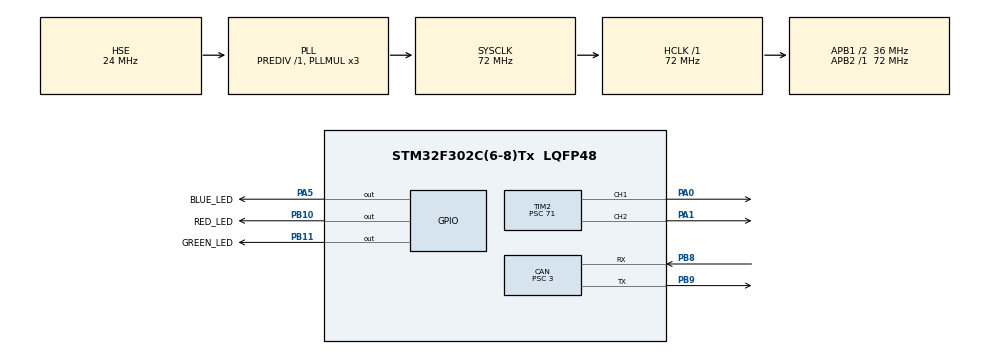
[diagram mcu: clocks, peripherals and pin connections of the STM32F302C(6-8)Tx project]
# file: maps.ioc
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CAN.BS1=CAN_BS1_7TQ
CAN.BS2=CAN_BS2_4TQ
CAN.CalculateBaudRate=999999
CAN.CalculateTimeBit=1000
CAN.CalculateTimeQuantum=83.33333333333334
CAN.NART=ENABLE
CAN.Prescaler=3
Mcu.Family=STM32F3
Mcu.Name=STM32F302C(6-8)Tx
Mcu.Package=LQFP48
NVIC.CAN_RX1_IRQn=true\:0\:0\:false\:false\:true\:true\:true\:true
NVIC.PriorityGroup=NVIC_PRIORITYGROUP_4
PA0.Signal=S_TIM2_CH1_ETR
PA1.Signal=S_TIM2_CH2
PA5.GPIO_Label=BLUE_LED
PA5.Signal=GPIO_Output
PB10.GPIO_Label=RED_LED
PB10.Signal=GPIO_Output
PB11.GPIO_Label=GREEN_LED
PB11.Signal=GPIO_Output
PB8.Mode=CAN_Activate
PB8.Signal=CAN_RX
PB9.Mode=CAN_Activate
PB9.Signal=CAN_TX
PF0-OSC_IN.Mode=HSE-External-Clock-Source
PF0-OSC_IN.Signal=RCC_OSC_IN
ProjectManager.HeapSize=0x200
ProjectManager.StackSize=0x400
ProjectManager.TargetToolchain=STM32CubeIDE
RCC.AHBFreq_Value=72000000
RCC.APB1CLKDivider=RCC_HCLK_DIV2
RCC.APB1Freq_Value=36000000
RCC.APB1TimFreq_Value=72000000
RCC.APB2Freq_Value=72000000
RCC.APB2TimFreq_Value=72000000
RCC.CortexFreq_Value=72000000
RCC.HCLKFreq_Value=72000000
RCC.HSE_VALUE=24000000
RCC.HSI_VALUE=8000000
RCC.LSE_VALUE=32768
RCC.PLLMUL=RCC_PLL_MUL3
RCC.PLLSourceVirtual=RCC_PLLSOURCE_HSE
RCC.SYSCLKFreq_VALUE=72000000
RCC.SYSCLKSourceVirtual=RCC_SYSCLKSOURCE_PLLCLK
RCC.USBFreq_Value=72000000
SH.S_TIM2_CH1_ETR.0=TIM2_CH1,PWM Generation1 CH1
SH.S_TIM2_CH2.0=TIM2_CH2,PWM Generation2 CH2
TIM2.Channel-PWM\ Generation1\ CH1=TIM_CHANNEL_1
TIM2.Channel-PWM\ Generation2\ CH2=TIM_CHANNEL_2
TIM2.Period=20000-1
TIM2.Prescaler=71
TIM2.Pulse-PWM\ Generation1\ CH1=1500
VP_TIM2_VS_ClockSourceINT.Mode=Internal
board=custom

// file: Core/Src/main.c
/* USER CODE BEGIN Header */
/* USER CODE END Header */
#include "main.h"

/* USER CODE BEGIN Includes */
#include "camera_joint_can.h"
#include "can_handler.h"
/* USER CODE END Includes */

CAN_HandleTypeDef hcan;

TIM_HandleTypeDef htim2;

/* USER CODE BEGIN PV */

volatile uint32_t can_rx_count = 0;
volatile uint32_t last_can_id = 0;
volatile uint8_t last_can_len = 0;
volatile uint8_t last_can_data[8] = {0};

volatile uint32_t can_error_count = 0;
volatile uint32_t last_can_error = 0;

/* USER CODE END PV */

void SystemClock_Config(void);
static void MX_GPIO_Init(void);
static void MX_CAN_Init(void);
static void MX_TIM2_Init(void);

int main(void)
{

  /* USER CODE BEGIN 1 */
	Servo_t tilt;
	Servo_t pan;
  /* USER CODE END 1 */

  /* MCU Configuration--------------------------------------------------------*/

  /* Reset of all peripherals, Initializes the Flash interface and the Systick. */
  HAL_Init();

  /* Configure the system clock */
  SystemClock_Config();

  /* Initialize all configured peripherals */
  MX_GPIO_Init();
  MX_CAN_Init();
  MX_TIM2_Init();
  /* USER CODE BEGIN 2 */

  if (Servo_Init(&pan, &htim2, TIM_CHANNEL_2, 500, 2500, 270.0f) != HAL_OK)
    {
      Error_Handler();
    }

  if (Servo_Init(&tilt, &htim2, TIM_CHANNEL_1, 500, 2500, 270.0f) != HAL_OK)
    {
      Error_Handler();
    }

  if (CameraJointCAN_Init(&pan, &tilt) != HAL_OK)
    {
      Error_Handler();
    }

  if (CAN_CONFIG(&hcan) != HAL_OK)
  {
      Error_Handler();
  }

  /*
   * Start CAN peripheral
   */
  if (HAL_CAN_Start(&hcan) != HAL_OK)
  {
    Error_Handler();
  }

  /*
   * Enable CAN RX FIFO1 interrupt
   */
  if (HAL_CAN_ActivateNotification(&hcan, CAN_IT_RX_FIFO1_MSG_PENDING) != HAL_OK)
  {
    Error_Handler();
  }

  /*
   * Optional CAN error interrupt for debugging
   */
  if (HAL_CAN_ActivateNotification(&hcan, CAN_IT_ERROR) != HAL_OK)
  {
    Error_Handler();
  }

  /* USER CODE END 2 */

  /* Infinite loop */
  /* USER CODE BEGIN WHILE */

  while (1)
  {
    /*
     * Debug variables to watch:
     *
     * boot_test_done
     * can_rx_count
     * last_can_id
     * last_can_len
     * last_can_data[0..7]
     * can_error_count
     * last_can_error
     *
     * Expected after boot:
     * boot_test_done = 1
     *
     * Expected after CAN angle command:
     * can_rx_count > 0
     * last_can_id = 0x0E110C10
     * last_can_len = 4
     */

    /* USER CODE END WHILE */

  }
}

void SystemClock_Config(void)
{
  RCC_OscInitTypeDef RCC_OscInitStruct = {0};
  RCC_ClkInitTypeDef RCC_ClkInitStruct = {0};

  /** Initializes the RCC Oscillators according to the specified parameters
  * in the RCC_OscInitTypeDef structure.
  */
  RCC_OscInitStruct.OscillatorType = RCC_OSCILLATORTYPE_HSE;
  RCC_OscInitStruct.HSEState = RCC_HSE_BYPASS;
  RCC_OscInitStruct.HSEPredivValue = RCC_HSE_PREDIV_DIV1;
  RCC_OscInitStruct.HSIState = RCC_HSI_ON;
  RCC_OscInitStruct.PLL.PLLState = RCC_PLL_ON;
  RCC_OscInitStruct.PLL.PLLSource = RCC_PLLSOURCE_HSE;
  RCC_OscInitStruct.PLL.PLLMUL = RCC_PLL_MUL3;
  if (HAL_RCC_OscConfig(&RCC_OscInitStruct) != HAL_OK)
  {
    Error_Handler();
  }

  /** Initializes the CPU, AHB and APB buses clocks
  */
  RCC_ClkInitStruct.ClockType = RCC_CLOCKTYPE_HCLK|RCC_CLOCKTYPE_SYSCLK
                              |RCC_CLOCKTYPE_PCLK1|RCC_CLOCKTYPE_PCLK2;
  RCC_ClkInitStruct.SYSCLKSource = RCC_SYSCLKSOURCE_PLLCLK;
  RCC_ClkInitStruct.AHBCLKDivider = RCC_SYSCLK_DIV1;
  RCC_ClkInitStruct.APB1CLKDivider = RCC_HCLK_DIV2;
  RCC_ClkInitStruct.APB2CLKDivider = RCC_HCLK_DIV1;

  if (HAL_RCC_ClockConfig(&RCC_ClkInitStruct, FLASH_LATENCY_2) != HAL_OK)
  {
    Error_Handler();
  }
}

static void MX_CAN_Init(void)
{

  hcan.Instance = CAN;
  hcan.Init.Prescaler = 3;
  hcan.Init.Mode = CAN_MODE_NORMAL;
  hcan.Init.SyncJumpWidth = CAN_SJW_1TQ;
  hcan.Init.TimeSeg1 = CAN_BS1_7TQ;
  hcan.Init.TimeSeg2 = CAN_BS2_4TQ;
  hcan.Init.TimeTriggeredMode = DISABLE;
  hcan.Init.AutoBusOff = DISABLE;
  hcan.Init.AutoWakeUp = DISABLE;
  hcan.Init.AutoRetransmission = ENABLE;
  hcan.Init.ReceiveFifoLocked = DISABLE;
  hcan.Init.TransmitFifoPriority = DISABLE;
  if (HAL_CAN_Init(&hcan) != HAL_OK)
  {
    Error_Handler();
  }

}

static void MX_TIM2_Init(void)
{

  TIM_ClockConfigTypeDef sClockSourceConfig = {0};
  TIM_MasterConfigTypeDef sMasterConfig = {0};
  TIM_OC_InitTypeDef sConfigOC = {0};

  htim2.Instance = TIM2;
  htim2.Init.Prescaler = 71;
  htim2.Init.CounterMode = TIM_COUNTERMODE_UP;
  htim2.Init.Period = 20000-1;
  htim2.Init.ClockDivision = TIM_CLOCKDIVISION_DIV1;
  htim2.Init.AutoReloadPreload = TIM_AUTORELOAD_PRELOAD_DISABLE;
  if (HAL_TIM_Base_Init(&htim2) != HAL_OK)
  {
    Error_Handler();
  }
  sClockSourceConfig.ClockSource = TIM_CLOCKSOURCE_INTERNAL;
  if (HAL_TIM_ConfigClockSource(&htim2, &sClockSourceConfig) != HAL_OK)
  {
    Error_Handler();
  }
  if (HAL_TIM_PWM_Init(&htim2) != HAL_OK)
  {
    Error_Handler();
  }
  sMasterConfig.MasterOutputTrigger = TIM_TRGO_RESET;
  sMasterConfig.MasterSlaveMode = TIM_MASTERSLAVEMODE_DISABLE;
  if (HAL_TIMEx_MasterConfigSynchronization(&htim2, &sMasterConfig) != HAL_OK)
  {
    Error_Handler();
  }
  sConfigOC.OCMode = TIM_OCMODE_PWM1;
  sConfigOC.Pulse = 1500;
  sConfigOC.OCPolarity = TIM_OCPOLARITY_HIGH;
  sConfigOC.OCFastMode = TIM_OCFAST_DISABLE;
  if (HAL_TIM_PWM_ConfigChannel(&htim2, &sConfigOC, TIM_CHANNEL_1) != HAL_OK)
  {
    Error_Handler();
  }
  sConfigOC.Pulse = 0;
  if (HAL_TIM_PWM_ConfigChannel(&htim2, &sConfigOC, TIM_CHANNEL_2) != HAL_OK)
  {
    Error_Handler();
  }
  HAL_TIM_MspPostInit(&htim2);

}

static void MX_GPIO_Init(void)
{
  GPIO_InitTypeDef GPIO_InitStruct = {0};

  /* GPIO Ports Clock Enable */
  __HAL_RCC_GPIOF_CLK_ENABLE();
  __HAL_RCC_GPIOA_CLK_ENABLE();
  __HAL_RCC_GPIOB_CLK_ENABLE();

  /*Configure GPIO pin Output Level */
  HAL_GPIO_WritePin(BLUE_LED_GPIO_Port, BLUE_LED_Pin, GPIO_PIN_RESET);

  /*Configure GPIO pin Output Level */
  HAL_GPIO_WritePin(GPIOB, RED_LED_Pin|GREEN_LED_Pin, GPIO_PIN_RESET);

  /*Configure GPIO pin : BLUE_LED_Pin */
  GPIO_InitStruct.Pin = BLUE_LED_Pin;
  GPIO_InitStruct.Mode = GPIO_MODE_OUTPUT_PP;
  GPIO_InitStruct.Pull = GPIO_NOPULL;
  GPIO_InitStruct.Speed = GPIO_SPEED_FREQ_LOW;
  HAL_GPIO_Init(BLUE_LED_GPIO_Port, &GPIO_InitStruct);

  /*Configure GPIO pins : RED_LED_Pin GREEN_LED_Pin */
  GPIO_InitStruct.Pin = RED_LED_Pin|GREEN_LED_Pin;
  GPIO_InitStruct.Mode = GPIO_MODE_OUTPUT_PP;
  GPIO_InitStruct.Pull = GPIO_NOPULL;
  GPIO_InitStruct.Speed = GPIO_SPEED_FREQ_LOW;
  HAL_GPIO_Init(GPIOB, &GPIO_InitStruct);

}

/* USER CODE BEGIN 4 */

void HAL_CAN_RxFifo1MsgPendingCallback(CAN_HandleTypeDef *hcan_ptr)
{
  CAN_RxHeaderTypeDef rxHeader;
  uint8_t rxData[8];

  if (HAL_CAN_GetRxMessage(hcan_ptr, CAN_RX_FIFO1, &rxHeader, rxData) == HAL_OK)
  {
    uint32_t id;

    if (rxHeader.IDE == CAN_ID_EXT)
    {
      id = rxHeader.ExtId;
    }
    else
    {
      id = rxHeader.StdId;
    }

    can_rx_count++;
    last_can_id = id;
    last_can_len = rxHeader.DLC;

    for (uint8_t i = 0; i < 8; i++)
    {
      last_can_data[i] = rxData[i];
    }

    CAN_Process_Incoming(id, rxData, rxHeader.DLC);
  }
}

void HAL_CAN_ErrorCallback(CAN_HandleTypeDef *hcan_ptr)
{
  can_error_count++;
  last_can_error = HAL_CAN_GetError(hcan_ptr);
}

/* USER CODE END 4 */

void Error_Handler(void)
{
  __disable_irq();
  while (1)
  {
  }
}
